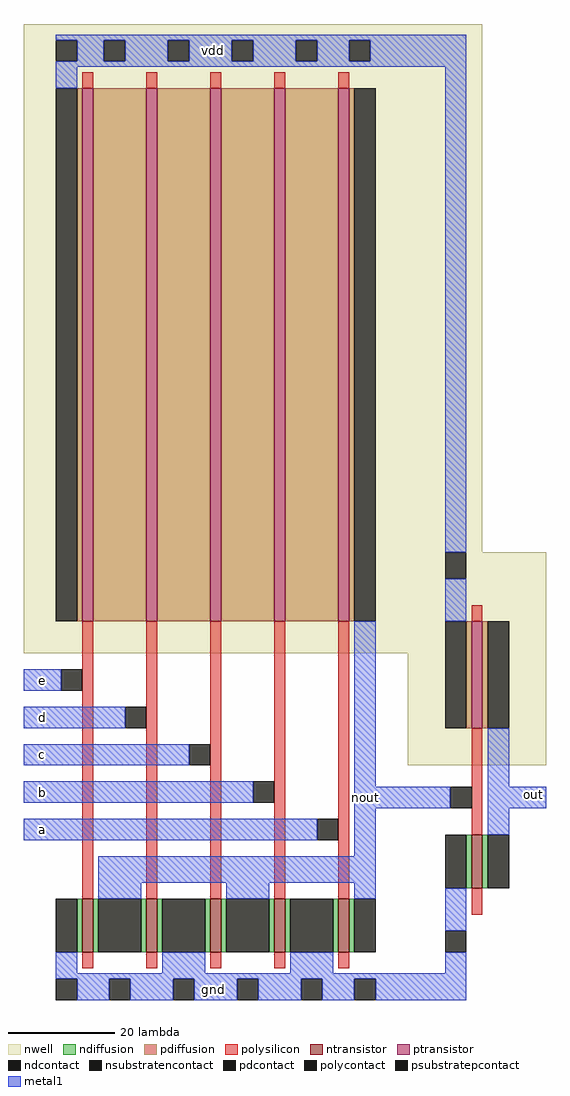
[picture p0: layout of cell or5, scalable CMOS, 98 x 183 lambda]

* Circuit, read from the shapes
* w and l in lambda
.subckt or5 a b c d e gnd nout out vdd
M1 nout e gnd gnd nfet w=10 l=2
M2 gnd d nout gnd nfet w=10 l=2
M3 nout c gnd gnd nfet w=10 l=2
M4 gnd b nout gnd nfet w=10 l=2
M5 nout a gnd gnd nfet w=10 l=2
M6 out nout gnd gnd nfet w=10 l=2
M7 n1 e vdd vdd pfet w=100 l=2
M8 n2 d n1 vdd pfet w=100 l=2
M9 n3 c n2 vdd pfet w=100 l=2
M10 n4 b n3 vdd pfet w=100 l=2
M11 nout a n4 vdd pfet w=100 l=2
M12 out nout vdd vdd pfet w=20 l=2
.ends

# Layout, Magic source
magic
tech scmos
<< nwell >>
rect 28 -189 114 -90
rect 28 -208 126 -189
rect 100 -229 126 -208
<< ntransistor >>
rect 112 -252 114 -242
rect 39 -264 41 -254
rect 51 -264 53 -254
rect 63 -264 65 -254
rect 75 -264 77 -254
rect 87 -264 89 -254
<< ptransistor >>
rect 39 -202 41 -102
rect 51 -202 53 -102
rect 63 -202 65 -102
rect 75 -202 77 -102
rect 87 -202 89 -102
rect 112 -222 114 -202
<< ndiffusion >>
rect 111 -252 112 -242
rect 114 -252 115 -242
rect 38 -264 39 -254
rect 41 -264 42 -254
rect 50 -264 51 -254
rect 53 -264 54 -254
rect 62 -264 63 -254
rect 65 -264 66 -254
rect 74 -264 75 -254
rect 77 -264 78 -254
rect 86 -264 87 -254
rect 89 -264 90 -254
<< pdiffusion >>
rect 38 -202 39 -102
rect 41 -202 51 -102
rect 53 -202 63 -102
rect 65 -202 75 -102
rect 77 -202 87 -102
rect 89 -202 90 -102
rect 111 -222 112 -202
rect 114 -222 115 -202
<< ndcontact >>
rect 107 -252 111 -242
rect 115 -252 119 -242
rect 34 -264 38 -254
rect 42 -264 50 -254
rect 54 -264 62 -254
rect 66 -264 74 -254
rect 78 -264 86 -254
rect 90 -264 94 -254
<< pdcontact >>
rect 34 -202 38 -102
rect 90 -202 94 -102
rect 107 -222 111 -202
rect 115 -222 119 -202
<< psubstratepcontact >>
rect 107 -264 111 -260
rect 34 -273 38 -269
rect 44 -273 48 -269
rect 56 -273 60 -269
rect 68 -273 72 -269
rect 80 -273 84 -269
rect 90 -273 94 -269
<< nsubstratencontact >>
rect 34 -97 38 -93
rect 43 -97 47 -93
rect 55 -97 59 -93
rect 67 -97 71 -93
rect 79 -97 83 -93
rect 89 -97 93 -93
rect 107 -194 111 -189
<< polysilicon >>
rect 39 -102 41 -99
rect 51 -102 53 -99
rect 63 -102 65 -99
rect 75 -102 77 -99
rect 87 -102 89 -99
rect 112 -202 114 -199
rect 39 -254 41 -202
rect 51 -254 53 -202
rect 63 -254 65 -202
rect 75 -254 77 -202
rect 87 -254 89 -202
rect 112 -242 114 -222
rect 112 -257 114 -252
rect 39 -267 41 -264
rect 51 -267 53 -264
rect 63 -267 65 -264
rect 75 -267 77 -264
rect 87 -267 89 -264
<< polycontact >>
rect 35 -215 39 -211
rect 47 -222 51 -218
rect 59 -229 63 -225
rect 71 -236 75 -232
rect 83 -243 87 -239
rect 108 -237 112 -233
<< metal1 >>
rect 34 -93 111 -92
rect 38 -97 43 -93
rect 47 -97 55 -93
rect 59 -97 67 -93
rect 71 -97 79 -93
rect 83 -97 89 -93
rect 93 -97 111 -93
rect 34 -98 111 -97
rect 34 -102 38 -98
rect 28 -215 35 -211
rect 28 -222 47 -218
rect 28 -229 59 -225
rect 28 -236 71 -232
rect 90 -233 94 -202
rect 107 -189 111 -98
rect 107 -202 111 -194
rect 115 -233 119 -222
rect 90 -237 108 -233
rect 115 -237 126 -233
rect 28 -243 83 -239
rect 90 -246 94 -237
rect 115 -242 119 -237
rect 42 -251 94 -246
rect 42 -254 50 -251
rect 66 -254 74 -251
rect 90 -254 94 -251
rect 107 -260 111 -252
rect 34 -268 38 -264
rect 54 -268 62 -264
rect 78 -268 86 -264
rect 107 -268 111 -264
rect 34 -269 111 -268
rect 38 -273 44 -269
rect 48 -273 56 -269
rect 60 -273 68 -269
rect 72 -273 80 -269
rect 84 -273 90 -269
rect 94 -273 111 -269
<< labels >>
rlabel metal1 62 -272 65 -270 1 gnd
rlabel metal1 30 -242 33 -240 3 a
rlabel metal1 30 -235 33 -233 3 b
rlabel metal1 30 -228 33 -226 3 c
rlabel metal1 30 -221 33 -219 3 d
rlabel metal1 30 -214 33 -212 3 e
rlabel metal1 62 -96 65 -94 5 vdd
rlabel metal1 121 -235 126 -234 7 out
rlabel metal1 91 -236 93 -234 1 nout
<< end >>
